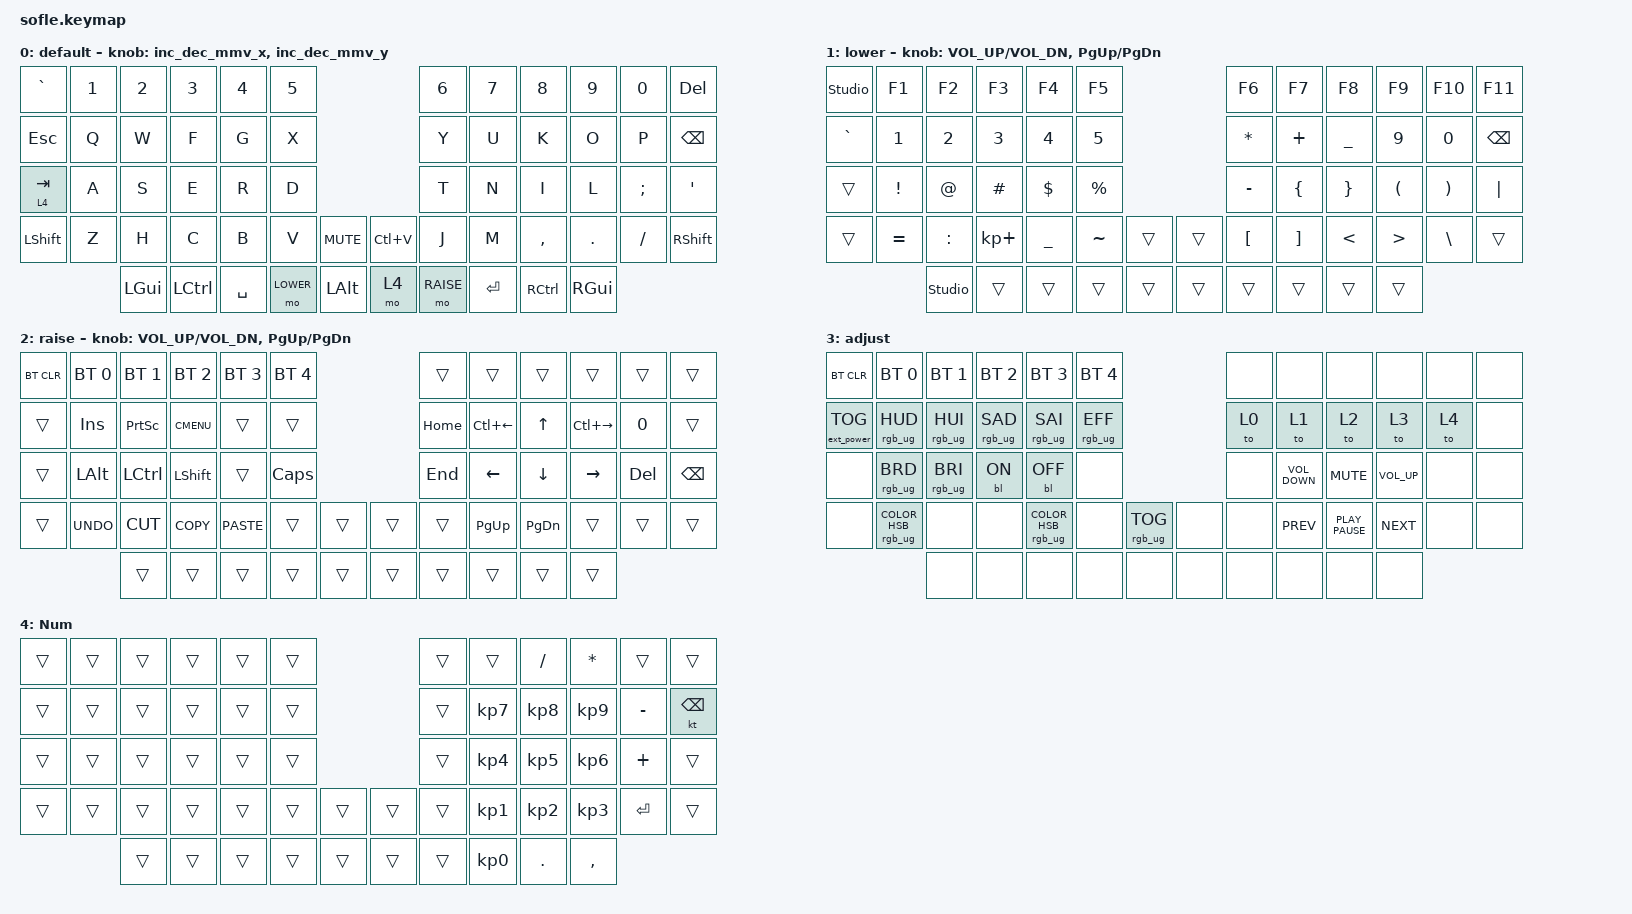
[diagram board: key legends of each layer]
/*
 * Copyright (c) 2020 The ZMK Contributors
 *
 * SPDX-License-Identifier: MIT
 */

#include <behaviors.dtsi>
#include <dt-bindings/zmk/backlight.h>
#include <dt-bindings/zmk/bt.h>
#include <dt-bindings/zmk/ext_power.h>
#include <dt-bindings/zmk/keys.h>
#include <dt-bindings/zmk/pointing.h>
#include <dt-bindings/zmk/rgb.h>

#define BASE 0
#define LOWER 1
#define RAISE 2
#define ADJUST 3
#define NumPad 4
#define ZMK_POINTING_DEFAULT_MOVE_VAL 1500  // default: 600
#define ZMK_POINTING_DEFAULT_SCRL_VAL 20    // default: 10

/ {
    // Activate ADJUST layer by pressing raise and lower

    conditional_layers {
        compatible = "zmk,conditional-layers";

        adjust_layer {
            if-layers = <1 2>;
            then-layer = <3>;
        };
    };

    behaviors {
        num_layer: num_layer {
            compatible = "zmk,behavior-hold-tap";
            label = "NUM_LAYER";
            bindings = <&mo>, <&kp>;

            #binding-cells = <2>;
            tapping-term-ms = <180>;
            quick-tap-ms = <150>;
            flavor = "balanced";
            retro-tap;
        };

        inc_dec_mmv_x: inc_dec_mmv_x {
            compatible = "zmk,behavior-sensor-rotate";
            #sensor-binding-cells = <0>;
            bindings = <&mmv MOVE_LEFT>, <&mmv MOVE_RIGHT>;
        };

        inc_dec_mmv_y: inc_dec_mmv_y {
            compatible = "zmk,behavior-sensor-rotate";
            #sensor-binding-cells = <0>;
            bindings = <&mmv MOVE_UP>, <&mmv MOVE_DOWN>;
        };
    };

    keymap {
        compatible = "zmk,keymap";

        default_layer {
            label = "default";

            // ------------------------------------------------------------------------------------------------------------
            // |   `   |  1  |  2  |  3   |  4   |  5   |                   |  6   |  7    |  8    |  9   |   0   |       |
            // |  ESC  |  Q  |  W  |  E   |  R   |  T   |                   |  Y   |  U    |  I    |  O   |   P   | BKSPC |
            // |  TAB  |  A  |  S  |  D   |  F   |  G   |                   |  H   |  J    |  K    |  L   |   ;   |   '   |
            // | SHIFT |  Z  |  X  |  C   |  V   |  B   |  MUTE  |  |       |  N   |  M    |  ,    |  .   |   /   | SHIFT |
            //               | GUI | ALT  | CTRL | LOWER|  ENTER |  | SPACE | RAISE| CTRL  | ALT   | GUI  |

            bindings = <
&kp GRAVE         &kp N1  &kp N2    &kp N3            &kp N4     &kp N5                                &kp N6     &kp N7     &kp N8             &kp N9    &kp N0    &kp DELETE
&kp ESC           &kp Q   &kp W     &kp F             &kp G      &kp X                                 &kp Y      &kp U      &kp K              &kp O     &kp P     &kp BSPC
&num_layer 4 TAB  &kp A   &kp S     &kp E             &kp R      &kp D                                 &kp T      &kp N      &kp I              &kp L     &kp SEMI  &kp SQT
&kp LSHFT         &kp Z   &kp H     &kp C             &kp B      &kp V      &kp C_MUTE      &kp LC(V)  &kp J      &kp M      &kp COMMA          &kp DOT   &kp FSLH  &kp RSHFT
                          &kp LGUI  &kp LEFT_CONTROL  &kp SPACE  &mo LOWER  &kp LEFT_ALT    &mo 4      &mo RAISE  &kp ENTER  &kp RIGHT_CONTROL  &kp RGUI
            >;

            sensor-bindings = <&inc_dec_mmv_x>, <&inc_dec_mmv_y>;
        };

        lower_layer {
            label = "lower";

            // TODO: Some binds are waiting for shifted keycode support.
            // ------------------------------------------------------------------------------------------------------------
            // |       |  F1 |  F2 |  F3  |  F4  |  F5  |                   |  F6  |  F7   |  F8   |  F9  |  F10  |  F11  |
            // |   `   |  1  |  2  |  3   |  4   |  5   |                   |  6   |  7    |  8    |  9   |   0   |  F12  |
            // |       |  !  |  @  |  #   |  $   |  %   |                   |  ^   |  &    |  *    |  (   |   )   |   |   |
            // |       |  =  |  -  |  +   |  {   |  }   |        |  |       |  [   |  ]    |  ;    |  :   |   \   |       |
            //               |     |      |      |      |        |  |       |      |       |       |      |

            bindings = <
&studio_unlock  &kp F1     &kp F2          &kp F3       &kp F4          &kp F5                       &kp F6        &kp F7          &kp F8           &kp F9                &kp F10   &kp F11
&kp GRAVE       &kp N1     &kp N2          &kp N3       &kp N4          &kp N5                       &kp ASTERISK  &kp PLUS        &kp UNDERSCORE   &kp N9                &kp N0    &kp BACKSPACE
&trans          &kp EXCL   &kp AT          &kp HASH     &kp DLLR        &kp PRCNT                    &kp MINUS     &kp LEFT_BRACE  &kp RIGHT_BRACE  &kp LEFT_PARENTHESIS  &kp RPAR  &kp PIPE
&trans          &kp EQUAL  &kp COLON       &kp KP_PLUS  &kp UNDERSCORE  &kp TILDE  &trans    &trans  &kp LBKT      &kp RBKT        &kp LESS_THAN    &kp GREATER_THAN      &kp BSLH  &trans
                           &studio_unlock  &trans       &trans          &trans     &trans    &trans  &trans        &trans          &trans           &trans
            >;

            sensor-bindings =
                <&inc_dec_kp C_VOL_UP C_VOL_DN>,
                <&inc_dec_kp PG_UP PG_DN>;
        };

        raise_layer {
            label = "raise";

            // ------------------------------------------------------------------------------------------------------------
            // | BTCLR | BT1  | BT2  |  BT3  |  BT4  |  BT5 |                |      |      |       |      |       |       |
            // |       | INS  | PSCR | GUI   |       |      |                | PGUP |      |   ^   |      |       |       |
            // |       | ALT  | CTRL | SHIFT |       | CAPS |                | PGDN |   <- |   v   |  ->  |  DEL  | BKSPC |
            // |       | UNDO | CUT  | COPY  | PASTE |      |      |  |      |      |      |       |      |       |       |
            //                |      |       |       |      |      |  |      |      |      |       |      |

            bindings = <
&bt BT_CLR  &bt BT_SEL 0  &bt BT_SEL 1  &bt BT_SEL 2  &bt BT_SEL 3  &bt BT_SEL 4                    &trans    &trans        &trans         &trans         &trans   &trans
&trans      &kp INS       &kp PSCRN     &kp K_CMENU   &trans        &trans                          &kp HOME  &kp LC(LEFT)  &kp UP         &kp LC(RIGHT)  &kp N0   &trans
&trans      &kp LALT      &kp LCTRL     &kp LSHFT     &trans        &kp CLCK                        &kp END   &kp LEFT      &kp DOWN       &kp RIGHT      &kp DEL  &kp BSPC
&trans      &kp K_UNDO    &kp K_CUT     &kp K_COPY    &kp K_PASTE   &trans        &trans    &trans  &trans    &kp PAGE_UP   &kp PAGE_DOWN  &trans         &trans   &trans
                          &trans        &trans        &trans        &trans        &trans    &trans  &trans    &trans        &trans         &trans
            >;

            sensor-bindings =
                <&inc_dec_kp C_VOL_UP C_VOL_DN>,
                <&inc_dec_kp PG_UP PG_DN>;
        };

        adjust_layer {
            // ----------------------------------------------------------------------------------------------------------------------------
            // | BTCLR  |  BT1    |  BT2    |   BT3   |   BT4   |   BT5   |                  |      |      |       |      |       |       |
            // | EXTPWR | RGB_HUD | RGB_HUI | RGB_SAD | RGB_SAI | RGB_EFF |                  |      |      |       |      |       |       |
            // |        | RGB_BRD | RGB_BRI |         |         |         |                  |      |      |       |      |       |       |
            // |        |         |         |         |         |         | RGB_TOG | |      |      |      |       |      |       |       |
            //                    |         |         |         |         |         | |      |      |      |       |      |

            label = "adjust";
            bindings = <
&bt BT_CLR         &bt BT_SEL 0                    &bt BT_SEL 1     &bt BT_SEL 2     &bt BT_SEL 3                      &bt BT_SEL 4                               &none  &none              &none             &none            &none  &none
&ext_power EP_TOG  &rgb_ug RGB_HUD                 &rgb_ug RGB_HUI  &rgb_ug RGB_SAD  &rgb_ug RGB_SAI                   &rgb_ug RGB_EFF                            &to 0  &to 1              &to 2             &to 3            &to 4  &none
&none              &rgb_ug RGB_BRD                 &rgb_ug RGB_BRI  &bl BL_ON        &bl BL_OFF                        &none                                      &none  &kp C_VOLUME_DOWN  &kp K_MUTE        &kp C_VOLUME_UP  &none  &none
&none              &rgb_ug RGB_COLOR_HSB(0,0,100)  &none            &none            &rgb_ug RGB_COLOR_HSB(298,83,96)  &none            &rgb_ug RGB_TOG    &none  &none  &kp K_PREV         &kp K_PLAY_PAUSE  &kp K_NEXT       &none  &none
                                                   &none            &none            &none                             &none            &none              &none  &none  &none              &none             &none
            >;
        };

        Num {
            bindings = <
&trans  &trans  &trans  &trans  &trans  &trans                    &trans  &trans           &kp SLASH        &kp ASTERISK     &trans     &trans
&trans  &trans  &trans  &trans  &trans  &trans                    &trans  &kp KP_NUMBER_7  &kp KP_NUMBER_8  &kp KP_NUMBER_9  &kp MINUS  &kt BACKSPACE
&trans  &trans  &trans  &trans  &trans  &trans                    &trans  &kp KP_NUMBER_4  &kp KP_NUMBER_5  &kp KP_NUMBER_6  &kp PLUS   &trans
&trans  &trans  &trans  &trans  &trans  &trans  &trans    &trans  &trans  &kp KP_NUMBER_1  &kp KP_NUMBER_2  &kp KP_NUMBER_3  &kp ENTER  &trans
                &trans  &trans  &trans  &trans  &trans    &trans  &trans  &kp KP_NUMBER_0  &kp DOT          &kp COMMA
            >;
        };
    };
};
